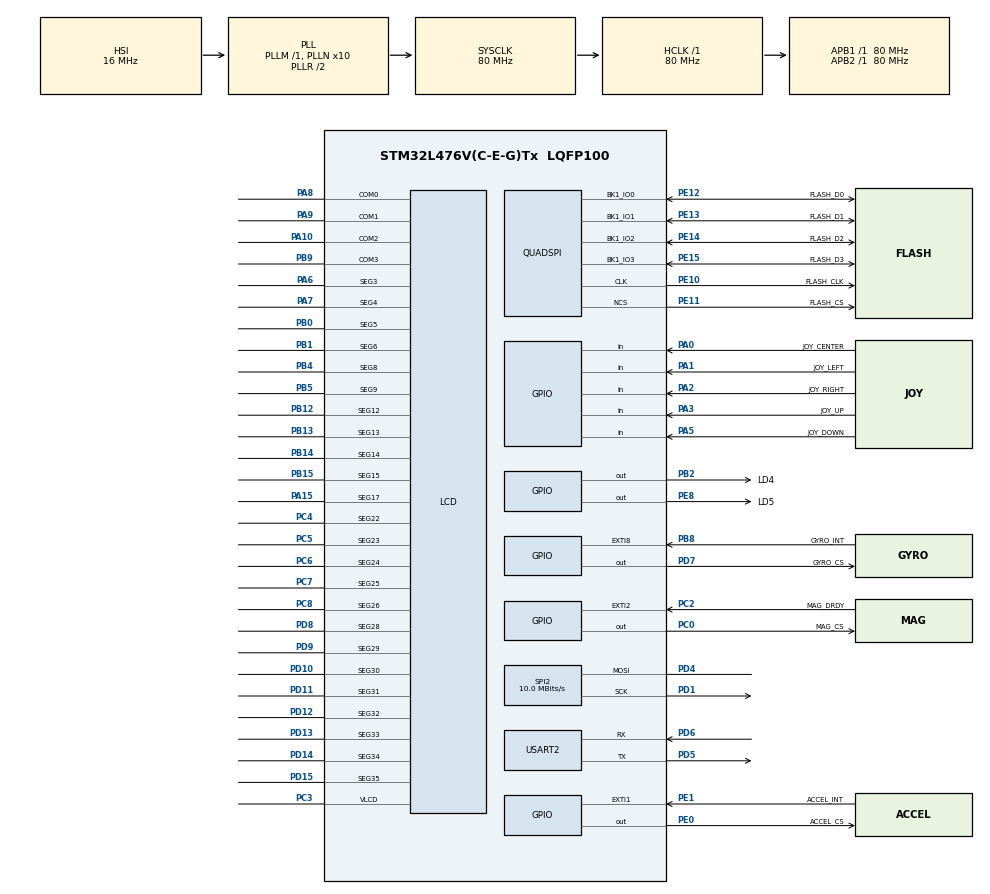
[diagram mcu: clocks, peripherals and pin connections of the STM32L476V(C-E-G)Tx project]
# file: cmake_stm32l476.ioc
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Mcu.Family=STM32L4
Mcu.Name=STM32L476V(C-E-G)Tx
Mcu.Package=LQFP100
NVIC.EXTI1_IRQn=true\:0\:0\:false\:false\:true\:true\:true\:true
NVIC.EXTI2_IRQn=true\:0\:0\:false\:false\:true\:true\:true\:true
NVIC.EXTI9_5_IRQn=true\:0\:0\:false\:false\:true\:true\:true\:true
NVIC.PriorityGroup=NVIC_PRIORITYGROUP_4
PA0.GPIO_Label=JOY_CENTER
PA0.GPIO_Mode=GPIO_MODE_INPUT
PA0.Signal=GPIO_Input
PA1.GPIO_Label=JOY_LEFT
PA1.GPIO_PuPd=GPIO_PULLDOWN
PA1.Signal=GPIO_Input
PA10.Mode=1/4 Duty Cycle
PA10.Signal=LCD_COM2
PA15\ (JTDI).Mode=SEG17
PA15\ (JTDI).Signal=LCD_SEG17
PA2.GPIO_Label=JOY_RIGHT
PA2.GPIO_PuPd=GPIO_PULLDOWN
PA2.Signal=GPIO_Input
PA3.GPIO_Label=JOY_UP
PA3.GPIO_PuPd=GPIO_PULLDOWN
PA3.Signal=GPIO_Input
PA5.GPIO_Label=JOY_DOWN
PA5.GPIO_PuPd=GPIO_PULLDOWN
PA5.Signal=GPIO_Input
PA6.Mode=SEG3
PA6.Signal=LCD_SEG3
PA7.Mode=SEG4
PA7.Signal=LCD_SEG4
PA8.Mode=1/4 Duty Cycle
PA8.Signal=LCD_COM0
PA9.Mode=1/4 Duty Cycle
PA9.Signal=LCD_COM1
PB0.Mode=SEG5
PB0.Signal=LCD_SEG5
PB1.Mode=SEG6
PB1.Signal=LCD_SEG6
PB12.Mode=SEG12
PB12.Signal=LCD_SEG12
PB13.Mode=SEG13
PB13.Signal=LCD_SEG13
PB14.Mode=SEG14
PB14.Signal=LCD_SEG14
PB15.Mode=SEG15
PB15.Signal=LCD_SEG15
PB2.GPIO_Label=LD4
PB2.Signal=GPIO_Output
PB4\ (NJTRST).Mode=SEG8
PB4\ (NJTRST).Signal=LCD_SEG8
PB5.Mode=SEG9
PB5.Signal=LCD_SEG9
PB8.GPIO_Label=GYRO_INT
PB8.Signal=GPXTI8
PB9.Mode=1/4 Duty Cycle
PB9.Signal=LCD_COM3
PC0.GPIO_Label=MAG_CS
PC0.PinState=GPIO_PIN_SET
PC0.Signal=GPIO_Output
PC14-OSC32_IN\ (PC14).Mode=LSE-External-Oscillator
PC14-OSC32_IN\ (PC14).Signal=RCC_OSC32_IN
PC15-OSC32_OUT\ (PC15).Mode=LSE-External-Oscillator
PC15-OSC32_OUT\ (PC15).Signal=RCC_OSC32_OUT
PC2.GPIO_Label=MAG_DRDY
PC2.Signal=GPXTI2
PC3.Mode=1/4 Duty Cycle
PC3.Signal=LCD_VLCD
PC4.Mode=SEG22
PC4.Signal=LCD_SEG22
PC5.Mode=SEG23
PC5.Signal=LCD_SEG23
PC6.Mode=SEG24
PC6.Signal=LCD_SEG24
PC7.Mode=SEG25
PC7.Signal=LCD_SEG25
PC8.Mode=SEG26
PC8.Signal=LCD_SEG26
PD1.Mode=Simplex_Bidirectional_Master
PD1.Signal=SPI2_SCK
PD10.Mode=SEG30
PD10.Signal=LCD_SEG30
PD11.Mode=SEG31
PD11.Signal=LCD_SEG31
PD12.Mode=SEG32
PD12.Signal=LCD_SEG32
PD13.Mode=SEG33
PD13.Signal=LCD_SEG33
PD14.Mode=SEG34
PD14.Signal=LCD_SEG34
PD15.Mode=SEG35
PD15.Signal=LCD_SEG35
PD3.Signal=SPI2_MISO
PD4.Mode=Simplex_Bidirectional_Master
PD4.Signal=SPI2_MOSI
PD5.Mode=Asynchronous
PD5.Signal=USART2_TX
PD6.Mode=Asynchronous
PD6.Signal=USART2_RX
PD7.GPIO_Label=GYRO_CS
PD7.PinState=GPIO_PIN_SET
PD7.Signal=GPIO_Output
PD8.Mode=SEG28
PD8.Signal=LCD_SEG28
PD9.Mode=SEG29
PD9.Signal=LCD_SEG29
PE0.GPIO_Label=ACCEL_CS
PE0.PinState=GPIO_PIN_SET
PE0.Signal=GPIO_Output
PE1.GPIO_Label=ACCEL_INT
PE1.GPIO_ModeDefaultEXTI=GPIO_MODE_IT_RISING_FALLING
PE1.GPIO_PuPd=GPIO_NOPULL
PE1.Signal=GPXTI1
PE10.GPIO_Label=FLASH_CLK
PE10.Mode=Single Bank
PE10.Signal=QUADSPI_CLK
PE11.GPIO_Label=FLASH_CS
PE11.Mode=Single Bank
PE11.Signal=QUADSPI_NCS
PE12.GPIO_Label=FLASH_D0
PE12.Mode=Single Bank
PE12.Signal=QUADSPI_BK1_IO0
PE13.GPIO_Label=FLASH_D1
PE13.Mode=Single Bank
PE13.Signal=QUADSPI_BK1_IO1
PE14.GPIO_Label=FLASH_D2
PE14.Mode=Single Bank
PE14.Signal=QUADSPI_BK1_IO2
PE15.GPIO_Label=FLASH_D3
PE15.Mode=Single Bank
PE15.Signal=QUADSPI_BK1_IO3
PE8.GPIO_Label=LD5
PE8.Signal=GPIO_Output
ProjectManager.HeapSize=0x200
ProjectManager.StackSize=0x400
ProjectManager.TargetToolchain=CMake
QUADSPI.ChipSelectHighTime-Single\ Bank=QSPI_CS_HIGH_TIME_1_CYCLE
QUADSPI.ClockPrescaler-Single\ Bank=0
QUADSPI.FifoThreshold-Single\ Bank=4
QUADSPI.FlashSize-Single\ Bank=24
QUADSPI.SampleShifting-Single\ Bank=QSPI_SAMPLE_SHIFTING_HALFCYCLE
RCC.ADCFreq_Value=64000000
RCC.AHBFreq_Value=80000000
RCC.APB1Freq_Value=80000000
RCC.APB1TimFreq_Value=80000000
RCC.APB2Freq_Value=80000000
RCC.APB2TimFreq_Value=80000000
RCC.CortexFreq_Value=80000000
RCC.HCLKFreq_Value=80000000
RCC.HSE_VALUE=8000000
RCC.HSI_VALUE=16000000
RCC.MSI_VALUE=4000000
RCC.PLLN=10
RCC.PLLSourceVirtual=RCC_PLLSOURCE_HSI
RCC.PREFETCH_ENABLE=1
RCC.SYSCLKFreq_VALUE=80000000
RCC.SYSCLKSource=RCC_SYSCLKSOURCE_PLLCLK
RCC.USBFreq_Value=64000000
RCC.VCOOutputFreq_Value=160000000
SPI2.BaudRatePrescaler=SPI_BAUDRATEPRESCALER_8
SPI2.CalculateBaudRate=10.0 MBits/s
SPI2.DataSize=SPI_DATASIZE_8BIT
SPI2.Direction=SPI_DIRECTION_1LINE
SPI2.Mode=SPI_MODE_MASTER
SPI2.VirtualType=VM_MASTER
USART2.VirtualMode-Asynchronous=VM_ASYNC
board=STM32L476G-DISCO

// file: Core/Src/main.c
/* USER CODE BEGIN Header */
/**
 ******************************************************************************
 * @file           : main.c
 * @brief          : Main program body
 ******************************************************************************
 * @attention
 *
 * Copyright (c) 2025 STMicroelectronics.
 * All rights reserved.
 *
 * This software is licensed under terms that can be found in the LICENSE file
 * in the root directory of this software component.
 * If no LICENSE file comes with this software, it is provided AS-IS.
 *
 ******************************************************************************
 */
/* USER CODE END Header */
#include "main.h"
#include "gpio.h"
#include "lcd.h"
#include "quadspi.h"
#include "spi.h"
#include "stm32l4xx_hal.h"
#include "usart.h"

/* USER CODE BEGIN Includes */
#include "gyro.h"
#include "menu.h"
#include "rtt_logger.h"
#include <stdint.h>
#include <stdio.h>
#include <string.h>

#include "LSM303C.h"
#include "calculations.h"
#include "flash.h"

#include "bsp_lcd_glass.h"
/* USER CODE END Includes */

/* USER CODE BEGIN PD */
#define WROCLAW_LATITUDE 51.1079f
#define WROCLAW_LONGITUDE 17.0595f
/* USER CODE END PD */

/* USER CODE BEGIN PV */
const float gps_latitude = WROCLAW_LATITUDE;
const float gps_longitude = WROCLAW_LONGITUDE;

uint8_t button_action_ready = 1;
FullProcessedData acc_full_data = {0};
FullProcessedData mag_full_data = {0};
GyroFullProcessedData gyro_full_data = {0};
Orientation current_orientation = {0.0f, 0.0f, 0.0f};
Vector3f predkosc_w_ukladzie_swiata = {0.0f, 0.0f, 0.0f};
Vector3f przemieszczenie_w_ukladzie_swiata = {0.0f, 0.0f, 0.0f};
Vector3f przyspieszenie_liniowe_swiat;

uint32_t last_update_time = 0;
uint32_t current_time = 0;
float dt = 0.0f;

/* USER CODE END PV */

void SystemClock_Config(void);

/* USER CODE BEGIN 0 */

// Retarget printf to UART2
int _write(int file, char *ptr, int len) {
  HAL_UART_Transmit(&huart2, (uint8_t *)ptr, len, HAL_MAX_DELAY);
  return len;
}

void print_heading(float M_X, float M_Y) {
  float heading = calculate_heading(M_X, M_Y);
  printf("Heading (Północ): %.2f°\r\n", heading);
}

volatile uint8_t gyro_data_ready_flag = 0;
volatile uint8_t acc_data_ready_flag = 0;
volatile uint8_t mag_data_ready_flag = 0;

void HAL_GPIO_EXTI_Callback(uint16_t GPIO_Pin) {
  if (GPIO_Pin == GYRO_INT_Pin) {
    gyro_data_ready_flag = 1;
  }
  if (GPIO_Pin == ACCEL_INT_Pin) {
    acc_data_ready_flag = 1;
  }
  if (GPIO_Pin == MAG_DRDY_Pin) {
    mag_data_ready_flag = 1;
  }
}

/**
 * @brief Oblicza sumę kontrolną CRC-16/CCITT-FALSE.
 * @param data Wskaźnik na tablicę bajtów danych.
 * @param length Długość danych w bajtach.
 * @return 16-bitowa suma kontrolna CRC.
 *
 * @note Standard CRC-16/CCITT-FALSE:
 * - Wielomian (Polynomial): 0x1021 (x^16 + x^12 + x^5 + 1)
 * - Wartość początkowa (Initial Value): 0xFFFF
 * - Refleksja wejścia/wyjścia (Reflect In/Out): Nie
 * - XOR na wyjściu (XOR Out): 0x0000
 */
uint16_t crc16_ccitt_false(const uint8_t *data, size_t length) {
  uint16_t crc = 0xFFFF; // Wartość początkowa
  for (size_t i = 0; i < length; i++) {
    crc ^= (uint16_t)data[i]
           << 8; // XOR z kolejnym bajtem danych (przesuniętym)
    for (uint8_t j = 0; j < 8; j++) {
      if (crc & 0x8000) {          // Jeśli najstarszy bit jest ustawiony
        crc = (crc << 1) ^ 0x1021; // Przesuń w lewo i XOR z wielomianem
      } else {
        crc <<= 1; // Tylko przesuń w lewo
      }
    }
  }
  return crc;
}

/* USER CODE END 0 */

int main(void) {

  /* USER CODE BEGIN 1 */
  menu_t menu;
  /* USER CODE END 1 */

  /* MCU Configuration--------------------------------------------------------*/

  /* Reset of all peripherals, Initializes the Flash interface and the Systick.
   */
  HAL_Init();

  /* Configure the system clock */
  SystemClock_Config();

  /* Initialize all configured peripherals */
  MX_GPIO_Init();
  MX_SPI2_Init();
  MX_USART2_UART_Init();
  MX_QUADSPI_Init();
  MX_LCD_Init();
  /* USER CODE BEGIN 2 */
  INFO_LOG("INIT STARTING");
  // LCD
  BSP_LCD_GLASS_Init();
  // IMU
  gyro_init();
  gyro_selftest_calibrate();
  acc_init();
  accel_selftest_calibrate();
  mag_init();
  // FLASH
  if (Flash_Init() != QSPI_OK) {
    printf("BŁĄD: Inicjalizacja Flash nie powiodła się!\r\n");
    Error_Handler();
  }
  // MENU
  menu = menu_new();
  INFO_LOG("INIT DONE");

  // Test wyświetlacza LCD
  /*
  BSP_LCD_GLASS_Clear();
  BSP_LCD_GLASS_DisplayString((uint8_t *)"STM32L4"); // Wyświetli "STM32L"
  HAL_Delay(2000);
  BSP_LCD_GLASS_Clear();
  BSP_LCD_GLASS_DisplayString((uint8_t *)"TEST  ");
  BSP_LCD_GLASS_BarLevelConfig(BATTERYLEVEL_FULL);
  HAL_Delay(2000);
  BSP_LCD_GLASS_Clear();
  BSP_LCD_GLASS_ScrollSentence((uint8_t *)"LCD OK ", 2, SCROLL_SPEED_MEDIUM);
  BSP_LCD_GLASS_BarLevelConfig(
      BATTERYLEVEL_OFF); // Wyłącz paski baterii po teście
  printf("LCD Test Finished.\r\n");
  */

  last_update_time = HAL_GetTick();

  /* USER CODE END 2 */

  /* Infinite loop */
  /* USER CODE BEGIN WHILE */
  while (1) {
    uint8_t joy_center = HAL_GPIO_ReadPin(JOY_CENTER_GPIO_Port, JOY_CENTER_Pin);
    uint8_t joy_up = HAL_GPIO_ReadPin(JOY_UP_GPIO_Port, JOY_UP_Pin);
    uint8_t joy_down = HAL_GPIO_ReadPin(JOY_DOWN_GPIO_Port, JOY_DOWN_Pin);
    uint8_t joy_left = HAL_GPIO_ReadPin(JOY_LEFT_GPIO_Port, JOY_LEFT_Pin);
    uint8_t joy_right = HAL_GPIO_ReadPin(JOY_RIGHT_GPIO_Port, JOY_RIGHT_Pin);
    if (joy_center && button_action_ready) {
      DEBUG_LOG("JOY CENTER");
      menu_action(&menu, ENTER);
      button_action_ready = 0;
    }
    if (joy_up && button_action_ready) {
      DEBUG_LOG("JOY UP");
      menu_action(&menu, UP);
      button_action_ready = 0;
    }
    if (joy_down && button_action_ready) {
      DEBUG_LOG("JOY DOWN");
      menu_action(&menu, DOWN);
      button_action_ready = 0;
    }
    if (joy_left && button_action_ready) {
      DEBUG_LOG("JOY LEFT");
      menu_action(&menu, LEFT);
      button_action_ready = 0;
    }
    if (joy_right && button_action_ready) {
      DEBUG_LOG("JOY RIGHT");
      menu_action(&menu, RIGHT);
      button_action_ready = 0;
    }
    if (!(joy_center || joy_up || joy_down || joy_left || joy_right)) {
      button_action_ready = 1;
    }
    menu_update(&menu);
    /* USER CODE END WHILE */

    /* USER CODE BEGIN 3 */
    current_time = HAL_GetTick();
    dt = (float)(current_time - last_update_time) / 1000.0f;
    last_update_time = current_time;

    if (dt <= 0.0f) {
      dt = 0.001f; // Minimalny dt, aby uniknąć dzielenia przez zero lub
                   // problemów
    }

    // Odczyt danych z czujników na podstawie flag przerwań
    if (gyro_data_ready_flag) {
      gyro_data_ready_flag = 0;
      gyro_read_data(
          &gyro_full_data); // Funkcja powinna wypełniać gyro_full_data
    }
    if (acc_data_ready_flag) {
      acc_data_ready_flag = 0;
      acc_read_data(&acc_full_data); // Funkcja powinna wypełniać acc_full_data
    }
    if (mag_data_ready_flag) {
      mag_data_ready_flag = 0;
      mag_read_data(&mag_full_data); // Funkcja powinna wypełniać mag_full_data
    }

    // Tworzenie wektorów z odczytanych danych
    Vector3f acc_vec = {acc_full_data.x, acc_full_data.y, acc_full_data.z};
    Vector3f mag_vec = {mag_full_data.x, mag_full_data.y, mag_full_data.z};
    Vector3f gyro_vec = {gyro_full_data.x_dps, gyro_full_data.y_dps,
                         gyro_full_data.z_dps};

    // Obliczanie orientacji
    calculate_orientation_complementary(&current_orientation, acc_vec, mag_vec,
                                        gyro_vec, dt);

    // --- Implementacja wysyłania danych z CRC i GPS ---
    char data_payload_buffer[250]; // Zwiększony bufor na dane CSV (12 IMU + 2
                                   // GPS)
    char full_frame_buffer[270]; // Zwiększony bufor na pełną ramkę (CSV + CRC)

    // 1. Formatowanie ładunku danych CSV (12 wartości IMU + 2 wartości GPS)
    // Używamy %.5f dla współrzędnych GPS dla większej precyzji
    sprintf(data_payload_buffer,
            "%.2f,%.2f,%.2f,%.2f,%.2f,%.2f,%.2f,%.2f,%.2f,%.2f,%.2f,%.2f,%."
            "5f,%.5f",
            gyro_full_data.x_dps, gyro_full_data.y_dps, gyro_full_data.z_dps,
            acc_full_data.x, acc_full_data.y, acc_full_data.z, mag_full_data.x,
            mag_full_data.y, mag_full_data.z, current_orientation.roll,
            current_orientation.pitch, current_orientation.yaw, gps_latitude,
            gps_longitude); // Dodane wartości GPS

    // 2. Obliczanie sumy kontrolnej CRC-16 dla ładunku
    uint16_t crc_value = crc16_ccitt_false((uint8_t *)data_payload_buffer,
                                           strlen(data_payload_buffer));

    // 3. Tworzenie pełnej ramki: dane_csv*CRC_HEX\r\n
    sprintf(full_frame_buffer, "%s*%04X\r\n", data_payload_buffer, crc_value);

    // OBLICZENIA
    oblicz_przyspieszenie_liniowe_swiat(acc_vec, &current_orientation,
                                        STALA_GRAWITACYJNA,
                                        &przyspieszenie_liniowe_swiat);
    //
    aktualizuj_predkosc_swiat(&predkosc_w_ukladzie_swiata,
                              przyspieszenie_liniowe_swiat, dt);
    //
    /*
    aktualizuj_przemieszczenie_swiat(&przemieszczenie_w_ukladzie_swiata,
                                     predkosc_w_ukladzie_swiata, dt);

    float przebyty_dystans_calkowity_temp = 0;
    aktualizuj_przebyty_dystans(&przebyty_dystans_calkowity_temp,
                                predkosc_w_ukladzie_swiata, dt);
                                */
    INFO_LOG("%f, %f, %f", predkosc_w_ukladzie_swiata.x,
             predkosc_w_ukladzie_swiata.y, predkosc_w_ukladzie_swiata.z);
  }

  /* USER CODE END 3 */
}

void SystemClock_Config(void) {
  RCC_OscInitTypeDef RCC_OscInitStruct = {0};
  RCC_ClkInitTypeDef RCC_ClkInitStruct = {0};

  /** Configure the main internal regulator output voltage
   */
  if (HAL_PWREx_ControlVoltageScaling(PWR_REGULATOR_VOLTAGE_SCALE1) != HAL_OK) {
    Error_Handler();
  }

  /** Initializes the RCC Oscillators according to the specified parameters
   * in the RCC_OscInitTypeDef structure.
   */
  RCC_OscInitStruct.OscillatorType =
      RCC_OSCILLATORTYPE_HSI | RCC_OSCILLATORTYPE_LSI;
  RCC_OscInitStruct.HSIState = RCC_HSI_ON;
  RCC_OscInitStruct.HSICalibrationValue = RCC_HSICALIBRATION_DEFAULT;
  RCC_OscInitStruct.LSIState = RCC_LSI_ON;
  RCC_OscInitStruct.PLL.PLLState = RCC_PLL_ON;
  RCC_OscInitStruct.PLL.PLLSource = RCC_PLLSOURCE_HSI;
  RCC_OscInitStruct.PLL.PLLM = 1;
  RCC_OscInitStruct.PLL.PLLN = 10;
  RCC_OscInitStruct.PLL.PLLP = RCC_PLLP_DIV7;
  RCC_OscInitStruct.PLL.PLLQ = RCC_PLLQ_DIV2;
  RCC_OscInitStruct.PLL.PLLR = RCC_PLLR_DIV2;
  if (HAL_RCC_OscConfig(&RCC_OscInitStruct) != HAL_OK) {
    Error_Handler();
  }

  /** Initializes the CPU, AHB and APB buses clocks
   */
  RCC_ClkInitStruct.ClockType = RCC_CLOCKTYPE_HCLK | RCC_CLOCKTYPE_SYSCLK |
                                RCC_CLOCKTYPE_PCLK1 | RCC_CLOCKTYPE_PCLK2;
  RCC_ClkInitStruct.SYSCLKSource = RCC_SYSCLKSOURCE_PLLCLK;
  RCC_ClkInitStruct.AHBCLKDivider = RCC_SYSCLK_DIV1;
  RCC_ClkInitStruct.APB1CLKDivider = RCC_HCLK_DIV1;
  RCC_ClkInitStruct.APB2CLKDivider = RCC_HCLK_DIV1;

  if (HAL_RCC_ClockConfig(&RCC_ClkInitStruct, FLASH_LATENCY_4) != HAL_OK) {
    Error_Handler();
  }
}

void Error_Handler(void) {
  /* USER CODE BEGIN Error_Handler_Debug */
  /* User can add his own implementation to report the HAL error return state
   */
  __disable_irq();
  printf("!!! CRITICAL Error_Handler() !!!\r\n");
  while (1) {
  }
  /* USER CODE END Error_Handler_Debug */
}

#ifdef USE_FULL_ASSERT
/**
 * @brief  Reports the name of the source file and the source line number
 *         where the assert_param error has occurred.
 * @param  file: pointer to the source file name
 * @param  line: assert_param error line source number
 * @retval None
 */
void assert_failed(uint8_t *file, uint32_t line) {
  /* USER CODE BEGIN 6 */
  /* User can add his own implementation to report the file name and line
     number, ex: printf("Wrong parameters value: file %s on line %d\r\n",
     file, line) */
  /* USER CODE END 6 */
}
#endif /* USE_FULL_ASSERT */
